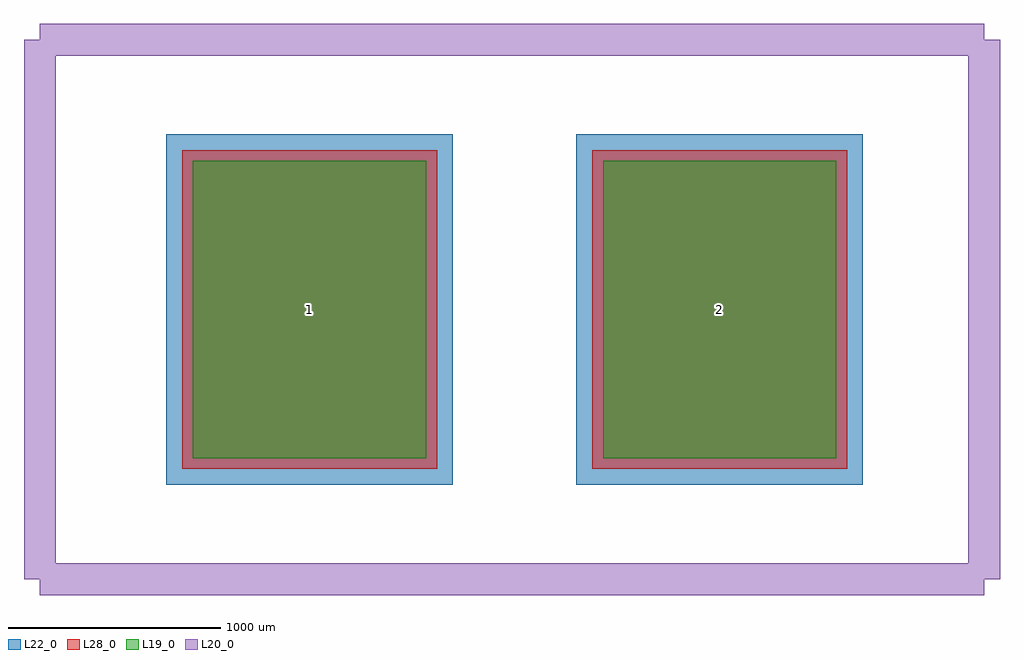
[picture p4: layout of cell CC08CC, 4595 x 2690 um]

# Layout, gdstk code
import gdstk
lib = gdstk.Library(unit=1e-6, precision=1e-09)
def R(c, l, rs):  # rectangles x0, y0, x1, y1
    for r in rs: c.add(gdstk.rectangle(r[:2], r[2:], *l))
L19_0 = (19, 0)
L20_0 = (20, 0)
L22_0 = (22, 0)
L28_0 = (28, 0)

cc08cc = lib.new_cell('CC08CC')
R(cc08cc, L19_0, [(-1819.44,-700.57,-720.56,700.57), (110.96,-700.57,1209.84,700.57)])
R(cc08cc, L22_0, [(-1944.44,-825.57,-595.56,825.57), (-14.04,-825.57,1334.84,825.57)])
R(cc08cc, L28_0, [(-1869.44,-750.57,-670.56,750.57), (60.96,-750.57,1259.84,750.57)])
cc08cc.add(gdstk.FlexPath([(1905,1270),(-2540,1270)], 149.998, ends="flush", simple_path=True, layer=20, datatype=0))  # L20_0
cc08cc.add(gdstk.FlexPath([(1905,-1270),(-2540,-1270)], 149.998, ends="flush", simple_path=True, layer=20, datatype=0))  # L20_0
cc08cc.add(gdstk.FlexPath([(1905,1270),(1905,-1270)], 149.998, ends="flush", simple_path=True, layer=20, datatype=0))  # L20_0
cc08cc.add(gdstk.FlexPath([(-2540,-1270),(-2540,1270)], 149.998, ends="flush", simple_path=True, layer=20, datatype=0))  # L20_0
cc08cc.add(gdstk.Label('2', (660.4,0), layer=28, texttype=0))
cc08cc.add(gdstk.Label('1', (-1270,0), layer=28, texttype=0))
cc08cc.add(gdstk.Label('type', (-889,-2286), layer=9, texttype=0))
cc08cc.add(gdstk.Label('devicename', (-508,2413), layer=9, texttype=0))

lib.write_gds('CC08CC.gds')
